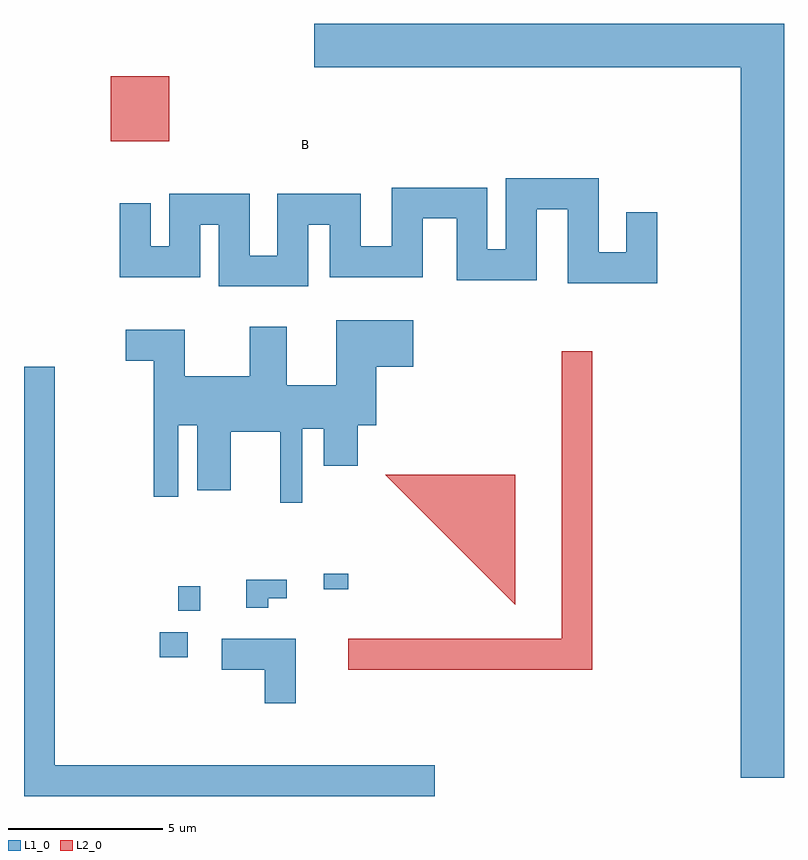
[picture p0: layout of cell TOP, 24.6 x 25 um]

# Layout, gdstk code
import gdstk
lib = gdstk.Library(unit=1e-6, precision=1e-09)
def R(c, l, rs):  # rectangles x0, y0, x1, y1
    for r in rs: c.add(gdstk.rectangle(r[:2], r[2:], *l))
def P(c, l, *ps):  # polygons
    for p in ps: c.add(gdstk.Polygon(p, *l))
L1_0 = (1, 0)
L2_0 = (2, 0)

c_a = lib.new_cell('A')
R(c_a, L1_0, [(1.3,1.5,2.2,2.3), (1.9,3,2.6,3.8), (6.6,3.7,7.4,4.2)])
P(c_a, L1_0, [(4.1,3.1),(4.1,4),(5.4,4),(5.4,3.4),(4.8,3.4),(4.8,3.1)],
  [(5.2,6.5),(5.2,8.8),(3.6,8.8),(3.6,6.9),(2.5,6.9),(2.5,9),(1.9,9),(1.9,6.7),(1.1,6.7),(1.1,11.1),(0.2,11.1),(0.2,12.1),(2.1,12.1),(2.1,10.6),(4.2,10.6),(4.2,12.2),(5.4,12.2),(5.4,10.3),(7,10.3),(7,12.4),(9.5,12.4),(9.5,10.9),(8.3,10.9),(8.3,9),(7.7,9),(7.7,7.7),(6.6,7.7),(6.6,8.9),(5.9,8.9),(5.9,6.5)])
P(c_a, L2_0, [(12.8,3.2),(8.6,7.4),(12.8,7.4)])
c_a.add(gdstk.FlexPath([(3.3,1.6),(5.2,1.6),(5.2,0)], 1, ends="flush", simple_path=True, layer=1, datatype=0))  # L1_0
c_a.add(gdstk.FlexPath([(0.5,16.2),(0.5,14.3),(2.1,14.3),(2.1,16),(3.7,16),(3.7,14),(5.6,14),(5.6,16),(7.3,16),(7.3,14.3),(9.3,14.3),(9.3,16.2),(11.4,16.2),(11.4,14.2),(13,14.2),(13,16.5),(15,16.5),(15,14.1),(16.9,14.1),(16.9,15.9)], 1, ends="flush", simple_path=True, layer=1, datatype=0))  # L1_0
c_a.add(gdstk.FlexPath([(14.8,11.4),(14.8,1.6),(7.4,1.6)], 1, ends="flush", simple_path=True, layer=2, datatype=0))  # L2_0

top = lib.new_cell('TOP')
P(top, L1_0, [(16.5,-2),(16.5,21),(2.7,21),(2.7,22.4),(17.9,22.4),(17.9,-2)])
R(top, L2_0, [(-3.9,18.6,-2,20.7)])
top.add(gdstk.FlexPath([(-6.2,11.3),(-6.2,-2.1),(6.6,-2.1)], 1, ends="flush", simple_path=True, layer=1, datatype=0))  # L1_0
top.add(gdstk.Reference(c_a, (-3.6,0.4)))
top.add(gdstk.Label('B', (2.4,18.5), layer=2, texttype=0))

lib.write_gds('TOP.gds')
